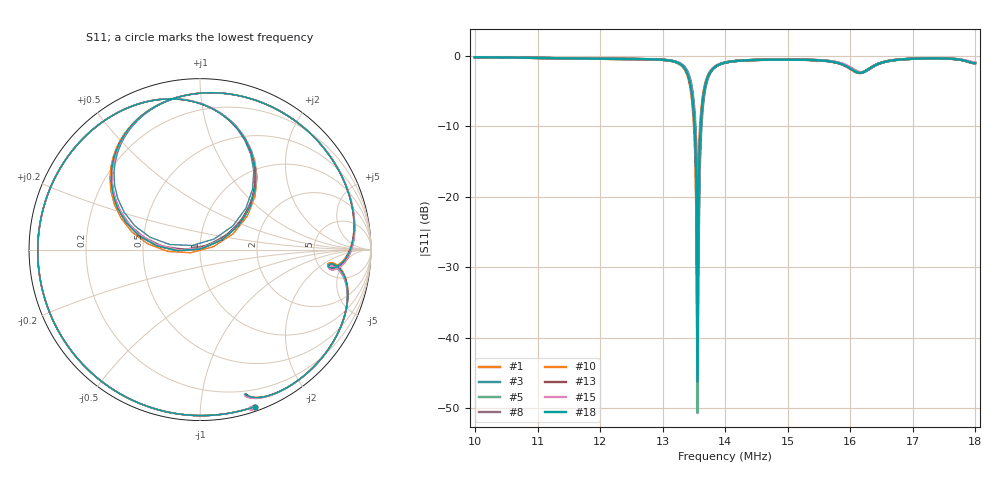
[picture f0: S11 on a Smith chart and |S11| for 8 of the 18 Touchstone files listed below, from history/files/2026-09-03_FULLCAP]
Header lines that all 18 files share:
! NanoVNA Web complex sweep
! Processing: original sample grid, no browser smoothing
# Hz S RI R 50
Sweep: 10 MHz to 18 MHz
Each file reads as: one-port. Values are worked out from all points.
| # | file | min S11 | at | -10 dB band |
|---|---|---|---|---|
| 1 | APPROACH-HIGH_FULL_100ser_200sh_AIT_T1.44_L1.33_80200MIX_fullcylinder_nanovna-sweep-1788456630552.s1p | -37.2 dB | 13.56 MHz | 99.68 kHz wide |
| 2 | APPROACH-LOW_FULL_100ser_200sh_AIT_T1.44_L1.33_80200MIX_fullcylinder_nanovna-sweep-1788456544102.s1p | -34.6 dB | 13.56 MHz | 99.94 kHz wide |
| 3 | COOR_FULL_100ser_200sh_AIT_T1.42_L1.34_80200MIX_fullcylinder_nanovna-sweep-1788456446069.s1p | -25.8 dB | 13.58 MHz | 97.03 kHz wide |
| 4 | COOR_FULL_100ser_200sh_AIT_T1.45_L1.32_80200MIX_fullcylinder_nanovna-sweep-1788456482086.s1p | -27.6 dB | 13.56 MHz | 100.3 kHz wide |
| 5 | FULL_100ser_200sh_AIT_T1.44_L1.33_80200MIX_fullcylinder_nanovna-sweep-1788455622934.s1p | -50.6 dB | 13.56 MHz | 99.67 kHz wide |
| 6 | FULL_100ser_200sh_AIT_T1.44_L1.35_80200MIX_fullcylinder_nanovna-sweep-1788455221120.s1p | -24.8 dB | 13.56 MHz | 96.59 kHz wide |
| 7 | FULL_100ser_200sh_AIT_T1.45_L1.35_80200MIX_fullcylinder_nanovna-sweep-1788454987074.s1p | -39.4 dB | 13.56 MHz | 98.66 kHz wide |
| 8 | IND-SENS-FULL_100ser_200sh_AIT_T1.43_L1.33_80200MIX_fullcylinder_nanovna-sweep-1788456172613.s1p | -25.7 dB | 13.56 MHz | 97.45 kHz wide |
| 9 | IND-SENS-FULL_100ser_200sh_AIT_T1.44_L1.33_80200MIX_fullcylinder_nanovna-sweep-1788456236747.s1p | -41.2 dB | 13.56 MHz | 99.86 kHz wide |
| 10 | IND-SENS-FULL_100ser_200sh_AIT_T1.45_L1.33_80200MIX_fullcylinder_nanovna-sweep-1788456210168.s1p | -25.0 dB | 13.56 MHz | 98.95 kHz wide |
| 11 | IND-SENS_FULL_100ser_200sh_AIT_T1.44_L1.32_80200MIX_fullcylinder_nanovna-sweep-1788456385878.s1p | -35.7 dB | 13.56 MHz | 100.4 kHz wide |
| 12 | IND-SENS_FULL_100ser_200sh_AIT_T1.44_L1.33_80200MIX_fullcylinder_nanovna-sweep-1788456342679.s1p | -46.8 dB | 13.56 MHz | 99.73 kHz wide |
| 13 | IND-SENS_FULL_100ser_200sh_AIT_T1.44_L1.34_80200MIX_fullcylinder_nanovna-sweep-1788456407112.s1p | -37.6 dB | 13.56 MHz | 98.92 kHz wide |
| 14 | POST_direct_FULL_100ser_200sh_AIT_T1.44_L1.36_8020MIX_fullcylinder_nanovna-sweep-1788456918079.s1p | -47.7 dB | 13.56 MHz | 97.95 kHz wide |
| 15 | PRE-FULL-POWER-FIRE_AIT_T1.44_L1.37_100ser_200sh_nanovna-sweep-1788460177644.s1p | -40.2 dB | 13.56 MHz | 97.54 kHz wide |
| 16 | REP1_FULL_100ser_200sh_AIT_T1.44_L1.33_80200MIX_fullcylinder_nanovna-sweep-1788456270153.s1p | -46.4 dB | 13.56 MHz | 99.61 kHz wide |
| 17 | REP2_FULL_100ser_200sh_AIT_T1.44_L1.33_80200MIX_fullcylinder_nanovna-sweep-1788456312094.s1p | -46.6 dB | 13.56 MHz | 99.66 kHz wide |
| 18 | REP3_FULL_100ser_200sh_AIT_T1.44_L1.33_80200MIX_fullcylinder_nanovna-sweep-1788456317642.s1p | -46.2 dB | 13.56 MHz | 99.69 kHz wide |
